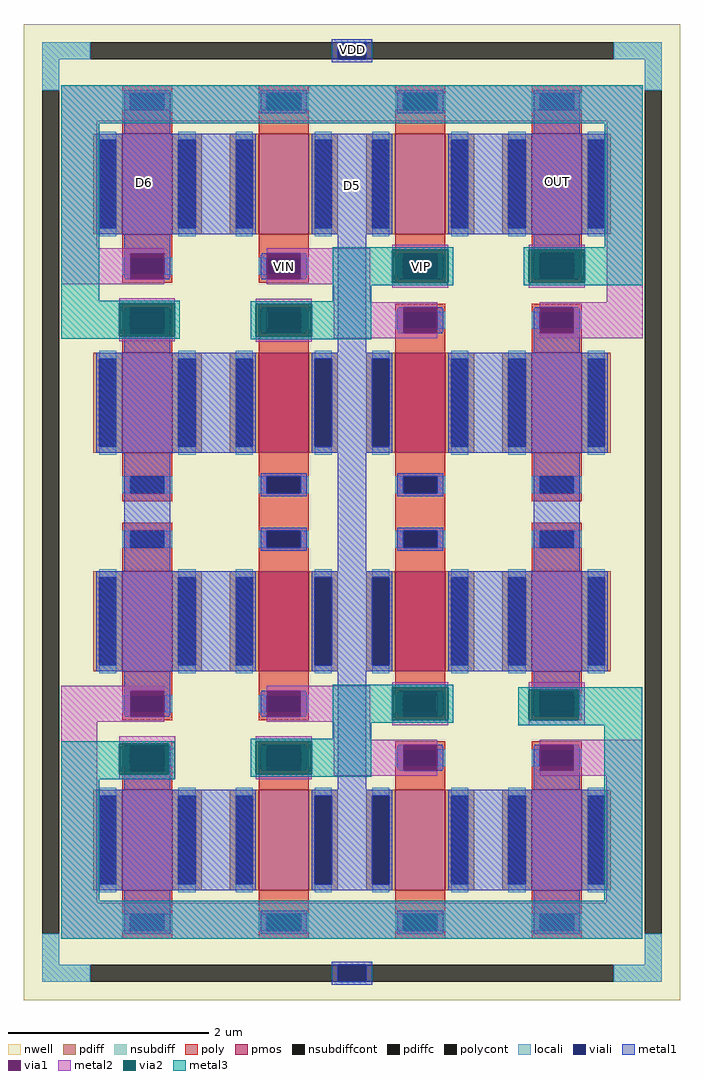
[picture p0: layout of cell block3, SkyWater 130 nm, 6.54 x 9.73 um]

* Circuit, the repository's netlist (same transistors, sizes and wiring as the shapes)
** sch_path: /home/mtfirmansyah/ic_projects/opamp/block3/lvs/block3.sch
.subckt block3 D5 D6 VDD VIN VIP OUT
*.PININFO D5:B D6:B VDD:B VIN:B VIP:B OUT:B
XM6 D6 VIN D5 VDD sky130_fd_pr__pfet_01v8 L=0.5 W=1 nf=1 m=4
XM7 OUT VIP D5 VDD sky130_fd_pr__pfet_01v8 L=0.5 W=1 nf=1 m=4
XM1 D6 D6 D6 VDD sky130_fd_pr__pfet_01v8 L=0.5 W=1 nf=1 m=4
XM2 OUT OUT OUT VDD sky130_fd_pr__pfet_01v8 L=0.5 W=1 nf=1 m=4
.ends
.end

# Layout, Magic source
magic
tech sky130A
magscale 1 2
<< poly >>
rect 415 505 515 1335
rect 687 505 787 1335
<< viali >>
rect 573 1823 629 1857
rect 573 -17 629 17
<< metal1 >>
rect 561 1857 641 1863
rect 561 1823 573 1857
rect 629 1823 641 1857
rect 561 1817 641 1823
rect 147 1674 239 1761
rect 963 1674 1055 1761
rect 91 1474 409 1674
rect 521 1474 681 1674
rect 793 1474 1111 1674
rect 147 1436 239 1474
rect 147 1387 159 1436
rect 149 1384 159 1387
rect 227 1387 239 1436
rect 421 1433 431 1436
rect 419 1387 431 1433
rect 227 1384 237 1387
rect 421 1384 431 1387
rect 499 1433 509 1436
rect 499 1387 511 1433
rect 499 1384 509 1387
rect 149 1325 159 1328
rect 147 1276 159 1325
rect 227 1325 237 1328
rect 421 1325 431 1328
rect 227 1276 239 1325
rect 419 1279 431 1325
rect 421 1276 431 1279
rect 499 1325 509 1328
rect 499 1279 511 1325
rect 499 1276 509 1279
rect 147 1238 239 1276
rect 573 1238 629 1474
rect 963 1436 1055 1474
rect 693 1433 703 1436
rect 691 1387 703 1433
rect 693 1384 703 1387
rect 771 1433 781 1436
rect 771 1387 783 1433
rect 963 1387 975 1436
rect 771 1384 781 1387
rect 965 1384 975 1387
rect 1043 1387 1055 1436
rect 1043 1384 1053 1387
rect 693 1325 703 1328
rect 691 1279 703 1325
rect 693 1276 703 1279
rect 771 1325 781 1328
rect 965 1325 975 1328
rect 771 1279 783 1325
rect 771 1276 781 1279
rect 963 1276 975 1325
rect 1043 1325 1053 1328
rect 1043 1276 1055 1325
rect 963 1238 1055 1276
rect 91 1038 409 1238
rect 567 1038 635 1238
rect 793 1038 1111 1238
rect 147 802 239 1038
rect 573 802 629 1038
rect 963 802 1055 1038
rect 91 602 409 802
rect 567 602 635 802
rect 793 602 1111 802
rect 147 564 239 602
rect 147 515 159 564
rect 149 512 159 515
rect 227 515 239 564
rect 227 512 237 515
rect 421 512 431 564
rect 499 512 509 564
rect 149 453 159 456
rect 147 404 159 453
rect 227 453 237 456
rect 227 404 239 453
rect 421 404 431 456
rect 499 404 509 456
rect 147 366 239 404
rect 573 366 629 602
rect 963 564 1055 602
rect 693 512 703 564
rect 771 512 781 564
rect 963 515 975 564
rect 965 512 975 515
rect 1043 515 1055 564
rect 1043 512 1053 515
rect 693 404 703 456
rect 771 404 781 456
rect 965 453 975 456
rect 963 404 975 453
rect 1043 453 1053 456
rect 1043 404 1055 453
rect 963 366 1055 404
rect 91 166 409 366
rect 567 166 635 366
rect 793 166 1111 366
rect 147 79 239 166
rect 963 79 1055 166
rect 561 17 641 23
rect 561 -17 573 17
rect 629 -17 641 17
rect 561 -23 641 -17
<< via1 >>
rect 159 1384 227 1436
rect 431 1384 499 1436
rect 159 1276 227 1328
rect 431 1276 499 1328
rect 703 1384 771 1436
rect 975 1384 1043 1436
rect 703 1276 771 1328
rect 975 1276 1043 1328
rect 159 512 227 564
rect 431 512 499 564
rect 159 404 227 456
rect 431 404 499 456
rect 703 512 771 564
rect 975 512 1043 564
rect 703 404 771 456
rect 975 404 1043 456
<< metal2 >>
rect 21 1699 1181 1771
rect 21 1446 93 1699
rect 21 1436 227 1446
rect 21 1384 159 1436
rect 21 1374 227 1384
rect 431 1436 637 1446
rect 499 1384 637 1436
rect 431 1374 637 1384
rect 137 1336 248 1346
rect 137 1260 248 1270
rect 409 1335 521 1345
rect 409 1259 521 1269
rect 565 1338 637 1374
rect 681 1443 793 1453
rect 681 1367 793 1377
rect 953 1443 1065 1453
rect 953 1367 1065 1377
rect 1109 1338 1181 1699
rect 565 1328 771 1338
rect 565 1276 703 1328
rect 565 1266 771 1276
rect 975 1328 1181 1338
rect 1043 1276 1181 1328
rect 975 1266 1181 1276
rect 21 564 227 574
rect 21 512 159 564
rect 21 502 227 512
rect 431 564 637 574
rect 499 512 637 564
rect 431 502 637 512
rect 21 141 93 502
rect 137 458 249 473
rect 236 397 249 458
rect 137 387 249 397
rect 409 463 521 473
rect 409 387 521 397
rect 565 466 637 502
rect 681 571 793 581
rect 681 495 793 505
rect 953 566 1065 581
rect 1052 505 1065 566
rect 953 495 1065 505
rect 565 456 771 466
rect 565 404 703 456
rect 565 394 771 404
rect 975 456 1180 466
rect 1043 404 1180 456
rect 975 394 1180 404
rect 1108 141 1180 394
rect 21 69 1180 141
<< via2 >>
rect 137 1328 248 1336
rect 137 1276 159 1328
rect 159 1276 227 1328
rect 227 1276 248 1328
rect 137 1270 248 1276
rect 409 1328 521 1335
rect 409 1276 431 1328
rect 431 1276 499 1328
rect 499 1276 521 1328
rect 409 1269 521 1276
rect 681 1436 793 1443
rect 681 1384 703 1436
rect 703 1384 771 1436
rect 771 1384 793 1436
rect 681 1377 793 1384
rect 953 1436 1065 1443
rect 953 1384 975 1436
rect 975 1384 1043 1436
rect 1043 1384 1065 1436
rect 953 1377 1065 1384
rect 137 456 236 458
rect 137 404 159 456
rect 159 404 227 456
rect 227 404 236 456
rect 137 397 236 404
rect 409 456 521 463
rect 409 404 431 456
rect 431 404 499 456
rect 499 404 521 456
rect 409 397 521 404
rect 681 564 793 571
rect 681 512 703 564
rect 703 512 771 564
rect 771 512 793 564
rect 681 505 793 512
rect 953 564 1052 566
rect 953 512 975 564
rect 975 512 1043 564
rect 1043 512 1052 564
rect 953 505 1052 512
<< metal3 >>
rect 21 1695 1181 1771
rect 21 1341 97 1695
rect 1105 1448 1181 1695
rect 563 1443 803 1448
rect 563 1377 681 1443
rect 793 1377 803 1443
rect 563 1372 803 1377
rect 943 1443 1181 1448
rect 943 1377 953 1443
rect 1065 1377 1181 1443
rect 943 1372 1181 1377
rect 21 1336 258 1341
rect 563 1340 639 1372
rect 21 1270 137 1336
rect 248 1270 258 1336
rect 21 1265 258 1270
rect 399 1335 639 1340
rect 399 1269 409 1335
rect 521 1269 639 1335
rect 399 1264 639 1269
rect 563 571 803 576
rect 563 505 681 571
rect 793 505 803 571
rect 563 500 803 505
rect 932 566 1180 571
rect 932 505 953 566
rect 1052 505 1180 566
rect 563 468 639 500
rect 932 495 1180 505
rect 399 463 639 468
rect 21 458 248 463
rect 21 397 137 458
rect 236 397 248 458
rect 21 387 248 397
rect 399 397 409 463
rect 521 397 639 463
rect 399 392 639 397
rect 21 145 97 387
rect 1104 145 1180 495
rect 21 69 1180 145
use sky130_fd_pr__pfet_01v8_BHMD29  sky130_fd_pr__pfet_01v8_BHMD29_0
transform 1 0 601 0 1 920
box -654 -973 654 973
<< labels >>
flabel metal1 602 1570 602 1570 0 FreeSans 160 0 0 0 D5
port 0 nsew
flabel via1 466 1410 466 1410 0 FreeSans 160 0 0 0 VIN
port 1 nsew
flabel via2 740 1410 740 1410 0 FreeSans 160 0 0 0 VIP
port 2 nsew
flabel metal1 188 1577 188 1577 0 FreeSans 160 0 0 0 D6
port 3 nsew
flabel metal1 1011 1579 1011 1579 0 FreeSans 160 0 0 0 OUT
port 4 nsew
flabel viali 601 1842 601 1842 0 FreeSans 160 0 0 0 VDD
port 5 nsew
<< end >>

# cell sky130_fd_pr__pfet_01v8_BHMD29: kit device sky130_fd_pr__pfet_01v8, w 1 l 0.5 m 4 nf 4 diffcov 100 polycov 100 guard 1 glc 1 grc 1 gtc 1 gbc 1 tbcov 100 rlcov 100 topc 1 botc 1 poverlap 0 doverlap 0 lmin 0.15 wmin 0.42 compatible {sky130_fd_pr__pfet_01v8 sky130_fd_pr__pfet_01v8_lvt sky130_fd_pr__pfet_01v8_hvt sky130_fd_pr__pfet_g5v0d10v5} full_metal 1 viasrc 100 viadrn 100 viagate 100 viagb 0 viagr 0 viagl 0 viagt 0
